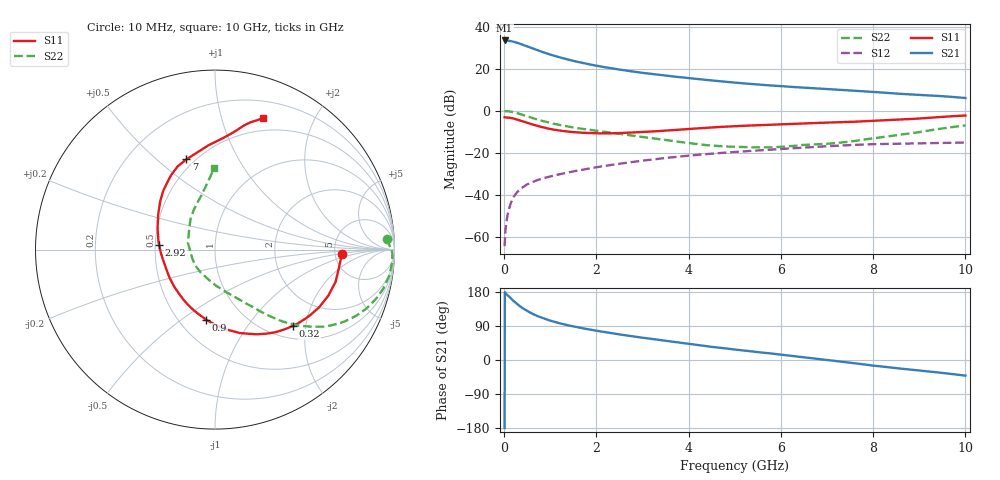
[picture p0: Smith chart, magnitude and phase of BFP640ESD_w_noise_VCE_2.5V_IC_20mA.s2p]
! Infineon Technologies  Discrete & RF Semiconductors
! BFP640ESD
! VCE =  2.5 V,  IC =  20 mA
! Common Emitter S-Parameters:  Jan 2016
# GHz  S  MA  R  50
!  f  S11  S21  S12  S22
! GHz  MAG  ANG  MAG  ANG  MAG  ANG  MAG  ANG
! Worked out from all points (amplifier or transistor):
!   233 points, 10 MHz to 10 GHz, reference 50 ohm
!   highest |S21| = 33.6 dB at 10 MHz (marker M1)
!   |S21| within 3 dB of that: start of sweep to 517.7 MHz
!   unconditionally stable (mu >= 1): 3.261 GHz to 7.814 GHz; 8.197 GHz to 8.612 GHz
!   at 200 MHz: K = 0.18, MSG = 37.2 dB, |S12| = -41.3 dB
!   at 1.74 GHz: K = 0.88, MSG = 25.3 dB, |S12| = -27.8 dB
!   at 10 GHz: K = 0.89, MSG = 10.6 dB, |S12| = -15.0 dB
!   lowest NFmin = 0.89 dB at 450 MHz
!   S11 on the Smith chart (normalised r, x): 10 MHz: 5.78, -0.57; 320 MHz: 1.26, -1.70; 900 MHz: 0.67, -0.62; 2.92 GHz: 0.52, +0.03; 7 GHz: 0.45, +0.63; 10 GHz: 0.37, +1.37
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0.01  0.7077 -2.0  47.87 -179.6  0.0006 116.2  0.9593 3.6
0.02  0.705 -3.2  47.65 177.8  0.0011 84.1  0.9879 -0.9
0.05  0.6987 -7.5  47.4 173.6  0.0023 85.7  0.9901 -4.1
0.1  0.6956 -14.9  47.09 168.0  0.0044 81.9  0.9813 -8.7
0.15  0.6815 -22.1  46.08 161.9  0.0066 80.1  0.962 -13.2
0.24  0.6446 -34.3  43.4 151.9  0.0101 74.4  0.9131 -20.2
0.32  0.607 -44.4  40.78 144.0  0.0128 70.6  0.8618 -25.7
0.4  0.5708 -53.7  37.93 136.9  0.0152 67.7  0.8085 -30.4
0.45  0.5472 -59.0  36.19 133.0  0.0165 66.0  0.7763 -32.8
0.6  0.4843 -73.6  31.3 122.5  0.02 62.5  0.6853 -38.8
0.74  0.4354 -85.1  27.5 115.1  0.0229 60.7  0.617 -42.9
0.9  0.3937 -97.2  23.93 107.7  0.0258 59.3  0.5526 -46.6
1.22  0.3393 -117.4  18.75 96.4  0.0313 58.3  0.4593 -51.8
1.68  0.3036 -140.4  14.11 84.2  0.0395 57.4  0.3774 -57.2
2.2  0.2924 -160.9  10.94 73.2  0.0494 55.8  0.3168 -63.1
2.92  0.3126 175.3  8.318 60.2  0.0638 51.9  0.2464 -74.8
3.4  0.3344 162.5  7.165 52.4  0.0736 48.4  0.2105 -84.7
5.1  0.4392 130.5  4.634 26.4  0.1072 33.8  0.1389 -144.5
6.8  0.5187 110.2  3.427 3.0  0.1401 18.2  0.1606 158.4
7  0.5273 107.6  3.329 0.0  0.1443 16.3  0.1653 153.7
8.4  0.6096 88.0  2.644 -20.1  0.1648 0.1  0.2546 117.0
10  0.7794 69.9  2.039 -41.3  0.1772 -15.4  0.4543 90.5
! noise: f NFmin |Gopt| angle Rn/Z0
0.45  0.89  0.04  -158  0.09
0.9  0.89  0.06  -160  0.09
1.9  0.91  0.11  -131  0.1
2.4  0.93  0.12  -127  0.11
5.5  1.18  0.36  -111  0.14
10  1.75  0.58  -76  0.7
